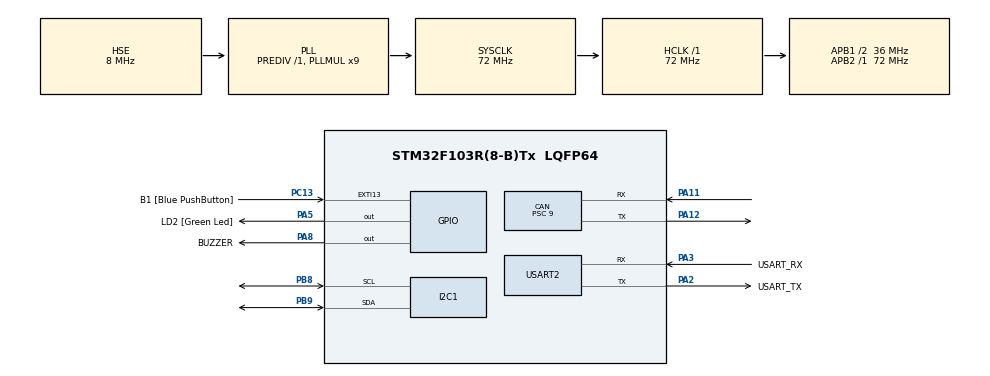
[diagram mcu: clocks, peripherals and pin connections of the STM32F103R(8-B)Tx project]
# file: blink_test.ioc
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CAN.ABOM=ENABLE
CAN.BS1=CAN_BS1_6TQ
CAN.CalculateBaudRate=500000
CAN.CalculateTimeBit=2000
CAN.CalculateTimeQuantum=250.0
CAN.Prescaler=9
Mcu.Family=STM32F1
Mcu.Name=STM32F103R(8-B)Tx
Mcu.Package=LQFP64
NVIC.EXTI15_10_IRQn=true\:0\:0\:false\:false\:true\:true\:true\:true
NVIC.PriorityGroup=NVIC_PRIORITYGROUP_4
NVIC.USB_LP_CAN1_RX0_IRQn=true\:0\:0\:false\:false\:true\:true\:true\:true
PA11.Mode=CAN_Activate
PA11.Signal=CAN_RX
PA12.Mode=CAN_Activate
PA12.Signal=CAN_TX
PA13.GPIO_Label=TMS
PA13.Mode=Serial_Wire
PA13.Signal=SYS_JTMS-SWDIO
PA14.GPIO_Label=TCK
PA14.Mode=Serial_Wire
PA14.Signal=SYS_JTCK-SWCLK
PA2.GPIO_Label=USART_TX
PA2.GPIO_Mode=GPIO_MODE_AF_PP
PA2.GPIO_PuPd=GPIO_NOPULL
PA2.GPIO_Speed=GPIO_SPEED_FREQ_LOW
PA2.Mode=Asynchronous
PA2.Signal=USART2_TX
PA3.GPIO_Label=USART_RX
PA3.GPIO_Mode=GPIO_MODE_AF_PP
PA3.GPIO_PuPd=GPIO_NOPULL
PA3.GPIO_Speed=GPIO_SPEED_FREQ_LOW
PA3.Mode=Asynchronous
PA3.Signal=USART2_RX
PA5.GPIO_Label=LD2 [Green Led]
PA5.GPIO_ModeDefaultOutputPP=GPIO_MODE_OUTPUT_PP
PA5.GPIO_PuPd=GPIO_NOPULL
PA5.GPIO_Speed=GPIO_SPEED_FREQ_LOW
PA5.Signal=GPIO_Output
PA8.GPIO_Label=BUZZER
PA8.Signal=GPIO_Output
PB3.GPIO_Label=SWO
PB3.Signal=SYS_JTDO-TRACESWO
PB8.Mode=I2C
PB8.Signal=I2C1_SCL
PB9.Mode=I2C
PB9.Signal=I2C1_SDA
PC13-TAMPER-RTC.GPIO_Label=B1 [Blue PushButton]
PC13-TAMPER-RTC.GPIO_PuPd=GPIO_NOPULL
PC13-TAMPER-RTC.Signal=GPXTI13
PC14-OSC32_IN.Mode=LSE-External-Oscillator
PC14-OSC32_IN.Signal=RCC_OSC32_IN
PC15-OSC32_OUT.Mode=LSE-External-Oscillator
PC15-OSC32_OUT.Signal=RCC_OSC32_OUT
PD0-OSC_IN.Mode=HSE-External-Clock-Source
PD0-OSC_IN.Signal=RCC_OSC_IN
PD1-OSC_OUT.Mode=HSE-External-Clock-Source
PD1-OSC_OUT.Signal=RCC_OSC_OUT
ProjectManager.HeapSize=0x200
ProjectManager.StackSize=0x400
ProjectManager.TargetToolchain=STM32CubeIDE
RCC.AHBFreq_Value=72000000
RCC.APB1CLKDivider=RCC_HCLK_DIV2
RCC.APB1Freq_Value=36000000
RCC.APB1TimFreq_Value=72000000
RCC.APB2Freq_Value=72000000
RCC.APB2TimFreq_Value=72000000
RCC.HCLKFreq_Value=72000000
RCC.PLLMUL=RCC_PLL_MUL9
RCC.PLLSourceVirtual=RCC_PLLSOURCE_HSE
RCC.RTCClockSelection=RCC_RTCCLKSOURCE_LSE
RCC.SYSCLKFreq_VALUE=72000000
RCC.SYSCLKSource=RCC_SYSCLKSOURCE_PLLCLK
RCC.USBFreq_Value=72000000
USART2.VirtualMode=VM_ASYNC
board=NUCLEO-F103RB

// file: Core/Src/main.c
/* USER CODE BEGIN Header */
/**
  ******************************************************************************
  * @file           : main.c
  * @brief          : Main program body
  ******************************************************************************
  * @attention
  *
  * Copyright (c) 2026 STMicroelectronics.
  * All rights reserved.
  *
  * This software is licensed under terms that can be found in the LICENSE file
  * in the root directory of this software component.
  * If no LICENSE file comes with this software, it is provided AS-IS.
  *
  ******************************************************************************
  */
/* USER CODE END Header */
#include "main.h"
#include "can.h"
#include "i2c.h"
#include "usart.h"
#include "gpio.h"

/* USER CODE BEGIN Includes */
#include "ssd1306.h"
#include "ssd1306_fonts.h"
#include "app.h"
#include "vids_pipeline.h"
#include "can_bxcan.h"
#include <stdio.h>

/* USER CODE END Includes */

/* USER CODE BEGIN PD */
#define UI_CYCLES_PER_CENTI_MS 720u
/* USER CODE END PD */

void SystemClock_Config(void);

/* USER CODE BEGIN 0 */
static void ui_timing_line(char *out, const char *tag, const vids_timing_stat_t *st)
{
  if (st->samples == 0u)
  {
    sprintf(out, "%s --.--/--.--", tag);
    return;
  }

  uint32_t lo = st->min_cycles / UI_CYCLES_PER_CENTI_MS;
  uint32_t hi = st->max_cycles / UI_CYCLES_PER_CENTI_MS;

  sprintf(out, "%s %lu.%02lu/%lu.%02lums",
          tag, lo / 100u, lo % 100u, hi / 100u, hi % 100u);
}
/* USER CODE END 0 */

int main(void)
{

  /* MCU Configuration--------------------------------------------------------*/

  /* Reset of all peripherals, Initializes the Flash interface and the Systick. */
  HAL_Init();

  /* Configure the system clock */
  SystemClock_Config();

  /* Initialize all configured peripherals */
  MX_GPIO_Init();
  MX_USART2_UART_Init();
  MX_I2C1_Init();
  MX_CAN_Init();

  /* USER CODE BEGIN 2 */
  ssd1306_Init();
  HAL_GPIO_WritePin(GPIOA, GPIO_PIN_8, GPIO_PIN_SET);
  HAL_Delay(1000);
  HAL_GPIO_WritePin(GPIOA, GPIO_PIN_8, GPIO_PIN_RESET);
  ssd1306_Fill(Black);
  ssd1306_SetCursor(2, 0);
  ssd1306_WriteString("V-IDS", Font_7x10, White);
  ssd1306_UpdateScreen();

  int setup_rc = app_setup();
  if (setup_rc != 0)
  {
    char err[24];
    sprintf(err, "CAN FAIL:%d", setup_rc);
    ssd1306_SetCursor(2, 16);
    ssd1306_WriteString(err, Font_6x8, White);
    ssd1306_UpdateScreen();
    __disable_irq();
    while (1)
    {
    }
  }

  ssd1306_SetCursor(2, 16);
  ssd1306_WriteString("CAN READY", Font_6x8, White);
  ssd1306_UpdateScreen();

  /* USER CODE END 2 */

  /* Infinite loop */
  /* USER CODE BEGIN WHILE */
  uint32_t last_ui = 0;

  while (1)
  {
    /* USER CODE END WHILE */

    /* USER CODE BEGIN 3 */
    app_loop();

    if (HAL_GetTick() - last_ui >= 500u)
    {
      last_ui = HAL_GetTick();
      HAL_GPIO_TogglePin(LD2_GPIO_Port, LD2_Pin);

      vids_stats_t st = vids_pipeline_stats();
      char buf[32];

      ssd1306_Fill(Black);
      ssd1306_SetCursor(2, 0);
      ssd1306_WriteString("V-IDS", Font_7x10, White);

      sprintf(buf, "RX:%lu W:%lu", st.frames_consumed, st.windows_processed);
      ssd1306_SetCursor(2, 16);
      ssd1306_WriteString(buf, Font_6x8, White);

      sprintf(buf, "F:%lu A:%lu D:%lu", st.windows_flagged, st.attacks_detected, st.frames_dropped);
      ssd1306_SetCursor(2, 28);
      ssd1306_WriteString(buf, Font_6x8, White);

      vids_timing_t tm = vids_pipeline_timing();

      ui_timing_line(buf, "FEAT", &tm.feature);
      ssd1306_SetCursor(2, 40);
      ssd1306_WriteString(buf, Font_6x8, White);

      ui_timing_line(buf, "DET ", &tm.detect);
      ssd1306_SetCursor(2, 52);
      ssd1306_WriteString(buf, Font_6x8, White);

      ssd1306_UpdateScreen();
    }
  }
  /* USER CODE END 3 */
}

void SystemClock_Config(void)
{
  RCC_OscInitTypeDef RCC_OscInitStruct = {0};
  RCC_ClkInitTypeDef RCC_ClkInitStruct = {0};

  /** Initializes the RCC Oscillators according to the specified parameters
  * in the RCC_OscInitTypeDef structure.
  */
  RCC_OscInitStruct.OscillatorType = RCC_OSCILLATORTYPE_HSE;
  RCC_OscInitStruct.HSEState = RCC_HSE_BYPASS;
  RCC_OscInitStruct.HSEPredivValue = RCC_HSE_PREDIV_DIV1;
  RCC_OscInitStruct.HSIState = RCC_HSI_ON;
  RCC_OscInitStruct.PLL.PLLState = RCC_PLL_ON;
  RCC_OscInitStruct.PLL.PLLSource = RCC_PLLSOURCE_HSE;
  RCC_OscInitStruct.PLL.PLLMUL = RCC_PLL_MUL9;
  if (HAL_RCC_OscConfig(&RCC_OscInitStruct) != HAL_OK)
  {
    Error_Handler();
  }

  /** Initializes the CPU, AHB and APB buses clocks
  */
  RCC_ClkInitStruct.ClockType = RCC_CLOCKTYPE_HCLK|RCC_CLOCKTYPE_SYSCLK
                              |RCC_CLOCKTYPE_PCLK1|RCC_CLOCKTYPE_PCLK2;
  RCC_ClkInitStruct.SYSCLKSource = RCC_SYSCLKSOURCE_PLLCLK;
  RCC_ClkInitStruct.AHBCLKDivider = RCC_SYSCLK_DIV1;
  RCC_ClkInitStruct.APB1CLKDivider = RCC_HCLK_DIV2;
  RCC_ClkInitStruct.APB2CLKDivider = RCC_HCLK_DIV1;

  if (HAL_RCC_ClockConfig(&RCC_ClkInitStruct, FLASH_LATENCY_2) != HAL_OK)
  {
    Error_Handler();
  }
}

/* USER CODE BEGIN 4 */
void vids_on_result(vids_result_t result, const vids_stats_t *stats)
{
  (void)stats;

  if (result == VIDS_ATTACK) {
    HAL_GPIO_WritePin(GPIOA, GPIO_PIN_8, GPIO_PIN_SET);
  } else {
    HAL_GPIO_WritePin(GPIOA, GPIO_PIN_8, GPIO_PIN_RESET);
  }
}
/* USER CODE END 4 */

void Error_Handler(void)
{
  /* USER CODE BEGIN Error_Handler_Debug */
	  ssd1306_Fill(Black);
	  ssd1306_SetCursor(2, 20);
	  ssd1306_WriteString("ERROR!", Font_7x10, White);
	  ssd1306_UpdateScreen();
	  __disable_irq();
	  while (1)
	  {
	  }
  /* USER CODE END Error_Handler_Debug */
}
